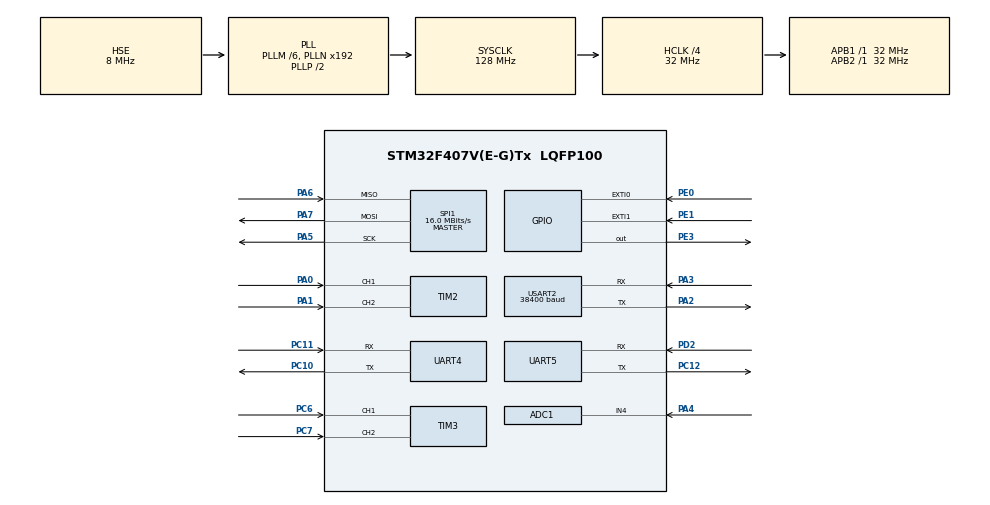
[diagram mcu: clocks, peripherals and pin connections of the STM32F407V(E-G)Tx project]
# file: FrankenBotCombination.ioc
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ADC1.Channel-0\#ChannelRegularConversion=ADC_CHANNEL_4
ADC1.ExternalTrigConv=ADC_EXTERNALTRIGCONV_T8_TRGO
ADC1.NbrOfConversionFlag=1
ADC1.Rank-0\#ChannelRegularConversion=1
ADC1.SamplingTime-0\#ChannelRegularConversion=ADC_SAMPLETIME_15CYCLES
ADC1.master=1
Mcu.Family=STM32F4
Mcu.Name=STM32F407V(E-G)Tx
Mcu.Package=LQFP100
NVIC.ADC_IRQn=true\:0\:0\:true\:false\:true\:true\:true\:true
NVIC.PriorityGroup=NVIC_PRIORITYGROUP_4
NVIC.TIM1_TRG_COM_TIM11_IRQn=true\:0\:0\:true\:false\:true\:true\:true\:true
NVIC.TIM1_UP_TIM10_IRQn=true\:0\:0\:true\:false\:true\:true\:true\:true
PA0-WKUP.Signal=S_TIM2_CH1_ETR
PA1.Signal=S_TIM2_CH2
PA2.Mode=Asynchronous
PA2.Signal=USART2_TX
PA3.Mode=Asynchronous
PA3.Signal=USART2_RX
PA4.Signal=ADCx_IN4
PA5.Mode=Full_Duplex_Master
PA5.Signal=SPI1_SCK
PA6.Mode=Full_Duplex_Master
PA6.Signal=SPI1_MISO
PA7.Mode=Full_Duplex_Master
PA7.Signal=SPI1_MOSI
PC10.Mode=Asynchronous
PC10.Signal=UART4_TX
PC11.Mode=Asynchronous
PC11.Signal=UART4_RX
PC12.Mode=Asynchronous
PC12.Signal=UART5_TX
PC6.Signal=S_TIM3_CH1
PC7.Signal=S_TIM3_CH2
PD2.Mode=Asynchronous
PD2.Signal=UART5_RX
PE0.Signal=GPXTI0
PE1.Signal=GPXTI1
PE3.Signal=GPIO_Output
PH0-OSC_IN.Mode=HSE-External-Oscillator
PH0-OSC_IN.Signal=RCC_OSC_IN
PH1-OSC_OUT.Mode=HSE-External-Oscillator
PH1-OSC_OUT.Signal=RCC_OSC_OUT
ProjectManager.HeapSize=0x200
ProjectManager.StackSize=0x400
ProjectManager.TargetToolchain=STM32CubeIDE
RCC.48MHZClocksFreq_Value=64000000
RCC.AHBCLKDivider=RCC_SYSCLK_DIV4
RCC.AHBFreq_Value=32000000
RCC.APB1Freq_Value=32000000
RCC.APB1TimFreq_Value=32000000
RCC.APB2Freq_Value=32000000
RCC.APB2TimFreq_Value=32000000
RCC.CortexFreq_Value=32000000
RCC.HCLKFreq_Value=32000000
RCC.HSE_VALUE=8000000
RCC.HSI_VALUE=16000000
RCC.LSE_VALUE=32768
RCC.PLLM=6
RCC.PLLSourceVirtual=RCC_PLLSOURCE_HSE
RCC.SYSCLKFreq_VALUE=128000000
RCC.SYSCLKSource=RCC_SYSCLKSOURCE_PLLCLK
RCC.VCOOutputFreq_Value=256000000
SH.ADCx_IN4.0=ADC1_IN4,IN4
SH.S_TIM2_CH1_ETR.0=TIM2_CH1,Encoder_Interface
SH.S_TIM2_CH2.0=TIM2_CH2,Encoder_Interface
SH.S_TIM3_CH1.0=TIM3_CH1,Encoder_Interface
SH.S_TIM3_CH2.0=TIM3_CH2,Encoder_Interface
SPI1.BaudRatePrescaler=SPI_BAUDRATEPRESCALER_2
SPI1.CalculateBaudRate=16.0 MBits/s
SPI1.Direction=SPI_DIRECTION_2LINES
SPI1.Mode=SPI_MODE_MASTER
SPI1.VirtualType=VM_MASTER
TIM10.Period=1000
TIM10.Prescaler=32
TIM11.Period=1000
TIM11.Prescaler=32000
TIM2.EncoderMode=TIM_ENCODERMODE_TI12
TIM3.EncoderMode=TIM_ENCODERMODE_TI12
TIM5.CounterMode=TIM_COUNTERMODE_DOWN
TIM5.Prescaler=32
TIM8.Period=1000
TIM8.Prescaler=16
TIM8.TIM_MasterOutputTrigger=TIM_TRGO_UPDATE
UART4.VirtualMode=Asynchronous
UART5.VirtualMode=Asynchronous
USART2.BaudRate=38400
USART2.VirtualMode=VM_ASYNC
VP_TIM10_VS_ClockSourceINT.Mode=Enable_Timer
VP_TIM11_VS_ClockSourceINT.Mode=Enable_Timer
VP_TIM5_VS_ClockSourceINT.Mode=Internal
VP_TIM8_VS_ClockSourceINT.Mode=Internal
board=custom

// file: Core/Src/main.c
/* USER CODE BEGIN Header */
/**
  ******************************************************************************
  * @file           : main.c
  * @brief          : Main program body
  ******************************************************************************
  * @attention
  *
  * Copyright (c) 2025 STMicroelectronics.
  * All rights reserved.
  *
  * This software is licensed under terms that can be found in the LICENSE file
  * in the root directory of this software component.
  * If no LICENSE file comes with this software, it is provided AS-IS.
  *
  ******************************************************************************
  */
/* USER CODE END Header */
#include "main.h"

/* USER CODE BEGIN Includes */

#include "qik_2s12v10_lib.h"
#include "math.h"

/* USER CODE END Includes */

/* USER CODE BEGIN PD */
#define ACCEL_CS_LOW()   HAL_GPIO_WritePin(GPIOE, GPIO_PIN_3, GPIO_PIN_RESET)  // Chip Select LOW
#define ACCEL_CS_HIGH()  HAL_GPIO_WritePin(GPIOE, GPIO_PIN_3, GPIO_PIN_SET)    // Chip Select HIGH

/* USER CODE END PD */

ADC_HandleTypeDef hadc1;

SPI_HandleTypeDef hspi1;

TIM_HandleTypeDef htim2;
TIM_HandleTypeDef htim3;
TIM_HandleTypeDef htim5;
TIM_HandleTypeDef htim8;
TIM_HandleTypeDef htim10;
TIM_HandleTypeDef htim11;

UART_HandleTypeDef huart4;
UART_HandleTypeDef huart5;
UART_HandleTypeDef huart2;

/* USER CODE BEGIN PV */
// Motor driver commands (UART)
uint8_t const motor0[3] = {m0Forward, m0Brake, m0Reverse};	// the left motor
uint8_t const motor1[3] = {m1Reverese, m1Brake, m1Forward}; // the right motor
uint8_t rotation = 0;
uint8_t rotationOld = 0;
uint8_t speed = 0;
uint8_t brake = 127;

// PID constants
float Kp =  3.0f;
float Ki =  0.0f;
float Kd = 2.0f;

//float integralMax = 127/Ki;

// target
float setpoint = -0.5;
float setPointDelta = 0.00;
uint8_t isReady = 1;
float leftSetup[100];
float previousAngle = 0; // inside accelerometer
float minD = 100;
float minDAngle[5] = {0, 0, 0, 0, 0};
int8_t sign = 1;
int8_t signOld = 1;
uint8_t signChanges = 0;
uint8_t moved = 0;
// State variables
float error = 0.0f;
float previous_error = 0.0f;
float integral = 0.0f;
float derivative = 0.0f;
float output = 0.0f;
float outputOld = 0.0f;
uint8_t dirChange = 0;

// Sample time
float dt = 0.001f;  // 1 ms

// Gyro
uint16_t gyroValue = 0;
float angularVelocity = 0;
float measuredVoltage = 0;
float gyroAngle = 0;

// Accelerometer
uint8_t reg = 0x0F | 0x80;  // WHO_AM_I register (0x0F) with read bit (0x80)
uint8_t id = 0x0;
uint8_t accReg [6] = {0x28, 0x29, 0x2A, 0x2B, 0x2C, 0x2D};
int16_t accX = 0;
int16_t accY = 0;
int16_t accZ = 0;
float accValues[3];
float accAngle = 0;
uint8_t simpleNum = 15;
float simpleAvgAngle[15];

uint8_t isEnabled = 0;
uint8_t enableAcc[2] = {0x20, 0x67};
uint8_t enableDRY[2] = {0x23, 0xC8};
uint8_t status = 0;
uint8_t data[6];
uint8_t const range = 2;

// debug
float angle = 0;
float dMAX = 0;
float lineFixed = 8;
float lineSpeed = 0.3;

// encoders
int16_t encoderL = 0;
int16_t encoderR = 0;

int16_t encoderLOld = 0;
int16_t encoderROld = 0;
int16_t encoderLSpeed = 0;
int16_t encoderRSpeed = 0;
int16_t encoderLSpeedMax = 0;
int16_t encoderRSpeedMax = 0;
int16_t encoderLSpeedMin = 0;
int16_t encoderRSpeedMin = 0;

/* USER CODE END PV */

void SystemClock_Config(void);
static void MX_GPIO_Init(void);
static void MX_SPI1_Init(void);
static void MX_ADC1_Init(void);
static void MX_TIM2_Init(void);
static void MX_TIM3_Init(void);
static void MX_USART2_UART_Init(void);
static void MX_TIM10_Init(void);
static void MX_TIM8_Init(void);
static void MX_UART4_Init(void);
static void MX_UART5_Init(void);
static void MX_TIM11_Init(void);
static void MX_TIM5_Init(void);

int main(void)
{

  /* MCU Configuration--------------------------------------------------------*/

  /* Reset of all peripherals, Initializes the Flash interface and the Systick. */
  HAL_Init();

  /* Configure the system clock */
  SystemClock_Config();

  /* Initialize all configured peripherals */
  MX_GPIO_Init();
  MX_SPI1_Init();
  MX_ADC1_Init();
  MX_TIM2_Init();
  MX_TIM3_Init();
  MX_USART2_UART_Init();
  MX_TIM10_Init();
  MX_TIM8_Init();
  MX_UART4_Init();
  MX_UART5_Init();
  MX_TIM11_Init();
  MX_TIM5_Init();
  /* USER CODE BEGIN 2 */

  // Accelerometer init
  uint8_t isEnabled = 0;
  uint8_t enableAcc[2] = {0x20, 0x67};
  uint8_t enableDRY[2] = {0x23, 0xC8};

  uint8_t msg = (enableAcc[0] | 0x80);
  ACCEL_CS_LOW();
  msg = (enableAcc[0] & 0x3F);
  HAL_SPI_Transmit(&hspi1, &msg, 1, HAL_MAX_DELAY);
  HAL_SPI_Transmit(&hspi1, &enableAcc[1], 1, HAL_MAX_DELAY);
  ACCEL_CS_HIGH();
  HAL_Delay(10);

  msg = (enableAcc[0] | 0x80);
  ACCEL_CS_LOW();
  HAL_SPI_Transmit(&hspi1, &msg, 1, HAL_MAX_DELAY);
  HAL_SPI_Receive(&hspi1, &isEnabled, 1, HAL_MAX_DELAY);
  ACCEL_CS_HIGH();
  HAL_Delay(10);

  msg = enableDRY[0] & 0x3F;
  ACCEL_CS_LOW();
  HAL_SPI_Transmit(&hspi1, &msg, 1, HAL_MAX_DELAY);
  HAL_SPI_Transmit(&hspi1, &enableDRY[1], 1, HAL_MAX_DELAY);
  ACCEL_CS_HIGH();                 // Disable
  HAL_Delay(10);

  HAL_Delay(100); // possibly not enough time for the UART to set up

  // initial angle
  readAccelerometer();
  gyroAngle = accAngle;
  for(int i = 0; i< simpleNum; i++){
	  simpleAvgAngle[i] = accAngle;
  }
  //angleInit();

  // UART Motor Driver communication
  __HAL_TIM_SET_COMPARE(&htim10,TIM_CHANNEL_1, 10);
  HAL_TIM_Base_Start_IT(&htim10);
  __HAL_TIM_SET_COMPARE(&htim11,TIM_CHANNEL_1, 500);
  HAL_TIM_Base_Start_IT(&htim11);
  //HAL_Delay(400); // offsetting the tiers

  // ADC gyro read
  //__HAL_TIM_SET_COMPARE(&htim1, TIM_CHANNEL_1, 100);
  HAL_TIM_Base_Start(&htim8);
  HAL_ADC_Start_IT(&hadc1);

  //

  HAL_TIM_Encoder_Start(&htim2, TIM_CHANNEL_1);
  HAL_TIM_Encoder_Start(&htim2, TIM_CHANNEL_2);

  HAL_TIM_Encoder_Start(&htim3, TIM_CHANNEL_1);
  HAL_TIM_Encoder_Start(&htim3, TIM_CHANNEL_2);

  /* USER CODE END 2 */

  /* Infinite loop */
  while (1)
  {

  }
}

void SystemClock_Config(void)
{
  RCC_OscInitTypeDef RCC_OscInitStruct = {0};
  RCC_ClkInitTypeDef RCC_ClkInitStruct = {0};

  /** Configure the main internal regulator output voltage
  */
  __HAL_RCC_PWR_CLK_ENABLE();
  __HAL_PWR_VOLTAGESCALING_CONFIG(PWR_REGULATOR_VOLTAGE_SCALE1);

  /** Initializes the RCC Oscillators according to the specified parameters
  * in the RCC_OscInitTypeDef structure.
  */
  RCC_OscInitStruct.OscillatorType = RCC_OSCILLATORTYPE_HSE;
  RCC_OscInitStruct.HSEState = RCC_HSE_ON;
  RCC_OscInitStruct.PLL.PLLState = RCC_PLL_ON;
  RCC_OscInitStruct.PLL.PLLSource = RCC_PLLSOURCE_HSE;
  RCC_OscInitStruct.PLL.PLLM = 6;
  RCC_OscInitStruct.PLL.PLLN = 192;
  RCC_OscInitStruct.PLL.PLLP = RCC_PLLP_DIV2;
  RCC_OscInitStruct.PLL.PLLQ = 4;
  if (HAL_RCC_OscConfig(&RCC_OscInitStruct) != HAL_OK)
  {
    Error_Handler();
  }

  /** Initializes the CPU, AHB and APB buses clocks
  */
  RCC_ClkInitStruct.ClockType = RCC_CLOCKTYPE_HCLK|RCC_CLOCKTYPE_SYSCLK
                              |RCC_CLOCKTYPE_PCLK1|RCC_CLOCKTYPE_PCLK2;
  RCC_ClkInitStruct.SYSCLKSource = RCC_SYSCLKSOURCE_PLLCLK;
  RCC_ClkInitStruct.AHBCLKDivider = RCC_SYSCLK_DIV4;
  RCC_ClkInitStruct.APB1CLKDivider = RCC_HCLK_DIV1;
  RCC_ClkInitStruct.APB2CLKDivider = RCC_HCLK_DIV1;

  if (HAL_RCC_ClockConfig(&RCC_ClkInitStruct, FLASH_LATENCY_1) != HAL_OK)
  {
    Error_Handler();
  }
}

static void MX_ADC1_Init(void)
{

  ADC_ChannelConfTypeDef sConfig = {0};

  /** Configure the global features of the ADC (Clock, Resolution, Data Alignment and number of conversion)
  */
  hadc1.Instance = ADC1;
  hadc1.Init.ClockPrescaler = ADC_CLOCK_SYNC_PCLK_DIV2;
  hadc1.Init.Resolution = ADC_RESOLUTION_12B;
  hadc1.Init.ScanConvMode = DISABLE;
  hadc1.Init.ContinuousConvMode = DISABLE;
  hadc1.Init.DiscontinuousConvMode = DISABLE;
  hadc1.Init.ExternalTrigConvEdge = ADC_EXTERNALTRIGCONVEDGE_RISING;
  hadc1.Init.ExternalTrigConv = ADC_EXTERNALTRIGCONV_T8_TRGO;
  hadc1.Init.DataAlign = ADC_DATAALIGN_RIGHT;
  hadc1.Init.NbrOfConversion = 1;
  hadc1.Init.DMAContinuousRequests = DISABLE;
  hadc1.Init.EOCSelection = ADC_EOC_SINGLE_CONV;
  if (HAL_ADC_Init(&hadc1) != HAL_OK)
  {
    Error_Handler();
  }

  /** Configure for the selected ADC regular channel its corresponding rank in the sequencer and its sample time.
  */
  sConfig.Channel = ADC_CHANNEL_4;
  sConfig.Rank = 1;
  sConfig.SamplingTime = ADC_SAMPLETIME_15CYCLES;
  if (HAL_ADC_ConfigChannel(&hadc1, &sConfig) != HAL_OK)
  {
    Error_Handler();
  }

}

static void MX_SPI1_Init(void)
{

  /* SPI1 parameter configuration*/
  hspi1.Instance = SPI1;
  hspi1.Init.Mode = SPI_MODE_MASTER;
  hspi1.Init.Direction = SPI_DIRECTION_2LINES;
  hspi1.Init.DataSize = SPI_DATASIZE_8BIT;
  hspi1.Init.CLKPolarity = SPI_POLARITY_LOW;
  hspi1.Init.CLKPhase = SPI_PHASE_1EDGE;
  hspi1.Init.NSS = SPI_NSS_SOFT;
  hspi1.Init.BaudRatePrescaler = SPI_BAUDRATEPRESCALER_2;
  hspi1.Init.FirstBit = SPI_FIRSTBIT_MSB;
  hspi1.Init.TIMode = SPI_TIMODE_DISABLE;
  hspi1.Init.CRCCalculation = SPI_CRCCALCULATION_DISABLE;
  hspi1.Init.CRCPolynomial = 10;
  if (HAL_SPI_Init(&hspi1) != HAL_OK)
  {
    Error_Handler();
  }

}

static void MX_TIM2_Init(void)
{

  TIM_Encoder_InitTypeDef sConfig = {0};
  TIM_MasterConfigTypeDef sMasterConfig = {0};

  htim2.Instance = TIM2;
  htim2.Init.Prescaler = 0;
  htim2.Init.CounterMode = TIM_COUNTERMODE_UP;
  htim2.Init.Period = 4294967295;
  htim2.Init.ClockDivision = TIM_CLOCKDIVISION_DIV1;
  htim2.Init.AutoReloadPreload = TIM_AUTORELOAD_PRELOAD_DISABLE;
  sConfig.EncoderMode = TIM_ENCODERMODE_TI12;
  sConfig.IC1Polarity = TIM_ICPOLARITY_RISING;
  sConfig.IC1Selection = TIM_ICSELECTION_DIRECTTI;
  sConfig.IC1Prescaler = TIM_ICPSC_DIV1;
  sConfig.IC1Filter = 0;
  sConfig.IC2Polarity = TIM_ICPOLARITY_RISING;
  sConfig.IC2Selection = TIM_ICSELECTION_DIRECTTI;
  sConfig.IC2Prescaler = TIM_ICPSC_DIV1;
  sConfig.IC2Filter = 0;
  if (HAL_TIM_Encoder_Init(&htim2, &sConfig) != HAL_OK)
  {
    Error_Handler();
  }
  sMasterConfig.MasterOutputTrigger = TIM_TRGO_RESET;
  sMasterConfig.MasterSlaveMode = TIM_MASTERSLAVEMODE_DISABLE;
  if (HAL_TIMEx_MasterConfigSynchronization(&htim2, &sMasterConfig) != HAL_OK)
  {
    Error_Handler();
  }

}

static void MX_TIM3_Init(void)
{

  TIM_Encoder_InitTypeDef sConfig = {0};
  TIM_MasterConfigTypeDef sMasterConfig = {0};

  htim3.Instance = TIM3;
  htim3.Init.Prescaler = 0;
  htim3.Init.CounterMode = TIM_COUNTERMODE_UP;
  htim3.Init.Period = 65535;
  htim3.Init.ClockDivision = TIM_CLOCKDIVISION_DIV1;
  htim3.Init.AutoReloadPreload = TIM_AUTORELOAD_PRELOAD_DISABLE;
  sConfig.EncoderMode = TIM_ENCODERMODE_TI12;
  sConfig.IC1Polarity = TIM_ICPOLARITY_RISING;
  sConfig.IC1Selection = TIM_ICSELECTION_DIRECTTI;
  sConfig.IC1Prescaler = TIM_ICPSC_DIV1;
  sConfig.IC1Filter = 0;
  sConfig.IC2Polarity = TIM_ICPOLARITY_RISING;
  sConfig.IC2Selection = TIM_ICSELECTION_DIRECTTI;
  sConfig.IC2Prescaler = TIM_ICPSC_DIV1;
  sConfig.IC2Filter = 0;
  if (HAL_TIM_Encoder_Init(&htim3, &sConfig) != HAL_OK)
  {
    Error_Handler();
  }
  sMasterConfig.MasterOutputTrigger = TIM_TRGO_RESET;
  sMasterConfig.MasterSlaveMode = TIM_MASTERSLAVEMODE_DISABLE;
  if (HAL_TIMEx_MasterConfigSynchronization(&htim3, &sMasterConfig) != HAL_OK)
  {
    Error_Handler();
  }

}

static void MX_TIM5_Init(void)
{

  TIM_ClockConfigTypeDef sClockSourceConfig = {0};
  TIM_MasterConfigTypeDef sMasterConfig = {0};

  htim5.Instance = TIM5;
  htim5.Init.Prescaler = 32;
  htim5.Init.CounterMode = TIM_COUNTERMODE_DOWN;
  htim5.Init.Period = 4294967295;
  htim5.Init.ClockDivision = TIM_CLOCKDIVISION_DIV1;
  htim5.Init.AutoReloadPreload = TIM_AUTORELOAD_PRELOAD_DISABLE;
  if (HAL_TIM_Base_Init(&htim5) != HAL_OK)
  {
    Error_Handler();
  }
  sClockSourceConfig.ClockSource = TIM_CLOCKSOURCE_INTERNAL;
  if (HAL_TIM_ConfigClockSource(&htim5, &sClockSourceConfig) != HAL_OK)
  {
    Error_Handler();
  }
  sMasterConfig.MasterOutputTrigger = TIM_TRGO_RESET;
  sMasterConfig.MasterSlaveMode = TIM_MASTERSLAVEMODE_DISABLE;
  if (HAL_TIMEx_MasterConfigSynchronization(&htim5, &sMasterConfig) != HAL_OK)
  {
    Error_Handler();
  }

}

static void MX_TIM8_Init(void)
{

  TIM_ClockConfigTypeDef sClockSourceConfig = {0};
  TIM_MasterConfigTypeDef sMasterConfig = {0};

  htim8.Instance = TIM8;
  htim8.Init.Prescaler = 16;
  htim8.Init.CounterMode = TIM_COUNTERMODE_UP;
  htim8.Init.Period = 1000;
  htim8.Init.ClockDivision = TIM_CLOCKDIVISION_DIV1;
  htim8.Init.RepetitionCounter = 0;
  htim8.Init.AutoReloadPreload = TIM_AUTORELOAD_PRELOAD_DISABLE;
  if (HAL_TIM_Base_Init(&htim8) != HAL_OK)
  {
    Error_Handler();
  }
  sClockSourceConfig.ClockSource = TIM_CLOCKSOURCE_INTERNAL;
  if (HAL_TIM_ConfigClockSource(&htim8, &sClockSourceConfig) != HAL_OK)
  {
    Error_Handler();
  }
  sMasterConfig.MasterOutputTrigger = TIM_TRGO_UPDATE;
  sMasterConfig.MasterSlaveMode = TIM_MASTERSLAVEMODE_DISABLE;
  if (HAL_TIMEx_MasterConfigSynchronization(&htim8, &sMasterConfig) != HAL_OK)
  {
    Error_Handler();
  }

}

static void MX_TIM10_Init(void)
{

  htim10.Instance = TIM10;
  htim10.Init.Prescaler = 32;
  htim10.Init.CounterMode = TIM_COUNTERMODE_UP;
  htim10.Init.Period = 1000;
  htim10.Init.ClockDivision = TIM_CLOCKDIVISION_DIV1;
  htim10.Init.AutoReloadPreload = TIM_AUTORELOAD_PRELOAD_DISABLE;
  if (HAL_TIM_Base_Init(&htim10) != HAL_OK)
  {
    Error_Handler();
  }

}

static void MX_TIM11_Init(void)
{

  htim11.Instance = TIM11;
  htim11.Init.Prescaler = 32000;
  htim11.Init.CounterMode = TIM_COUNTERMODE_UP;
  htim11.Init.Period = 1000;
  htim11.Init.ClockDivision = TIM_CLOCKDIVISION_DIV1;
  htim11.Init.AutoReloadPreload = TIM_AUTORELOAD_PRELOAD_DISABLE;
  if (HAL_TIM_Base_Init(&htim11) != HAL_OK)
  {
    Error_Handler();
  }

}

static void MX_UART4_Init(void)
{

  huart4.Instance = UART4;
  huart4.Init.BaudRate = 115200;
  huart4.Init.WordLength = UART_WORDLENGTH_8B;
  huart4.Init.StopBits = UART_STOPBITS_1;
  huart4.Init.Parity = UART_PARITY_NONE;
  huart4.Init.Mode = UART_MODE_TX_RX;
  huart4.Init.HwFlowCtl = UART_HWCONTROL_NONE;
  huart4.Init.OverSampling = UART_OVERSAMPLING_16;
  if (HAL_UART_Init(&huart4) != HAL_OK)
  {
    Error_Handler();
  }

}

static void MX_UART5_Init(void)
{

  huart5.Instance = UART5;
  huart5.Init.BaudRate = 115200;
  huart5.Init.WordLength = UART_WORDLENGTH_8B;
  huart5.Init.StopBits = UART_STOPBITS_1;
  huart5.Init.Parity = UART_PARITY_NONE;
  huart5.Init.Mode = UART_MODE_TX_RX;
  huart5.Init.HwFlowCtl = UART_HWCONTROL_NONE;
  huart5.Init.OverSampling = UART_OVERSAMPLING_16;
  if (HAL_UART_Init(&huart5) != HAL_OK)
  {
    Error_Handler();
  }

}

static void MX_USART2_UART_Init(void)
{

  huart2.Instance = USART2;
  huart2.Init.BaudRate = 38400;
  huart2.Init.WordLength = UART_WORDLENGTH_8B;
  huart2.Init.StopBits = UART_STOPBITS_1;
  huart2.Init.Parity = UART_PARITY_NONE;
  huart2.Init.Mode = UART_MODE_TX_RX;
  huart2.Init.HwFlowCtl = UART_HWCONTROL_NONE;
  huart2.Init.OverSampling = UART_OVERSAMPLING_16;
  if (HAL_UART_Init(&huart2) != HAL_OK)
  {
    Error_Handler();
  }

}

static void MX_GPIO_Init(void)
{
  GPIO_InitTypeDef GPIO_InitStruct = {0};

  /* GPIO Ports Clock Enable */
  __HAL_RCC_GPIOE_CLK_ENABLE();
  __HAL_RCC_GPIOH_CLK_ENABLE();
  __HAL_RCC_GPIOA_CLK_ENABLE();
  __HAL_RCC_GPIOC_CLK_ENABLE();
  __HAL_RCC_GPIOD_CLK_ENABLE();

  /*Configure GPIO pin Output Level */
  HAL_GPIO_WritePin(GPIOE, GPIO_PIN_3, GPIO_PIN_RESET);

  /*Configure GPIO pin : PE3 */
  GPIO_InitStruct.Pin = GPIO_PIN_3;
  GPIO_InitStruct.Mode = GPIO_MODE_OUTPUT_PP;
  GPIO_InitStruct.Pull = GPIO_NOPULL;
  GPIO_InitStruct.Speed = GPIO_SPEED_FREQ_LOW;
  HAL_GPIO_Init(GPIOE, &GPIO_InitStruct);

  /*Configure GPIO pins : PE0 PE1 */
  GPIO_InitStruct.Pin = GPIO_PIN_0|GPIO_PIN_1;
  GPIO_InitStruct.Mode = GPIO_MODE_IT_RISING;
  GPIO_InitStruct.Pull = GPIO_NOPULL;
  HAL_GPIO_Init(GPIOE, &GPIO_InitStruct);

}

/* USER CODE BEGIN 4 */
void HAL_TIM_PeriodElapsedCallback(TIM_HandleTypeDef *htim)
{
  /* Prevent unused argument(s) compilation warning */
  UNUSED(htim);

  /* NOTE : This function should not be modified, when the callback is needed,
            the HAL_TIM_PeriodElapsedCallback could be implemented in the user file
   */

  // calculations
  // pid

  if (htim == &htim11) {
	  //gyroAngle = angle;
  }
  if (htim == &htim10){
	  	if(dirChange == 0 && moved >=10){
	  		if(rotation == 2){
		  		sign = -1;
	  		}
	  		else if(rotation == 0){
		  		sign = +1;
	  		}
	  		moved = 0;
		  	targetUpdate();
		  	signOld = sign;
	  	}
		readAccelerometer();
		getEncoders();
		calculateSpeed();
		pcTransmitBin();

		 if(rotation != rotationOld){
			 dirChange = 1;
			 moved =0;
			 rotationOld = rotation;
		 }
		 else{
			 //dirChange = 0;
			 if(fabs(error) < 0.2){
				 moved++;
			 }

		 }
		 if(dirChange==1){
			 if(abs(encoderRSpeed) > 1800){
				HAL_UART_Transmit(&huart2, &motor0[1], 1, 20);
				HAL_UART_Transmit(&huart2, &brake, 1, 20);
				HAL_UART_Transmit(&huart2, &motor1[1], 1, 20);
				HAL_UART_Transmit(&huart2, &brake, 1, 20);
				usDelay(400);
			 }
			 //else{
				 dirChange = 0;
			// }
		 }
		if(dirChange == 0){
			HAL_UART_Transmit(&huart2, &motor0[rotation], 1, 20);
			HAL_UART_Transmit(&huart2, &speed, 1, 20);
			// HAL_Delay(10);
			HAL_UART_Transmit(&huart2, &motor1[rotation], 1, 20);
			HAL_UART_Transmit(&huart2, &speed, 1, 20);
			//HAL_Delay(10);
		}

  }

}

void HAL_ADC_ConvCpltCallback(ADC_HandleTypeDef *hadc)
{
  /* Prevent unused argument(s) compilation warning */
  UNUSED(hadc);
  /* NOTE : This function Should not be modified, when the callback is needed,
            the HAL_ADC_ConvCpltCallback could be implemented in the user file
   */

  gyroValue = HAL_ADC_GetValue(&hadc1);
  calculateGyroAngle();
}

void readAccelerometer(){
	uint8_t msg;
	for(short i = 0; i<6; i++){
		msg = accReg[i] | 0x80;
		ACCEL_CS_LOW();                  // Enable SPI communication
		HAL_SPI_Transmit(&hspi1, &msg, 1, HAL_MAX_DELAY);  // Send register address
		HAL_SPI_Receive(&hspi1, &data[i], 1, HAL_MAX_DELAY);    // Receive the ID
		ACCEL_CS_HIGH();                 // Disable SPI

	}
	accX = (data[0] | (data[1] << 8));
	accY = (data[2] | (data[3] << 8));
	accZ = (data[4] | (data[5] << 8));

	accValues[0] = (accX / 32767.0) * 2;
	accValues[1] = (accY / 32767.0) * 2;
	accValues[2] = (accZ / 32767.0) * 2;

	accAngle = atan(accValues[0]/accValues[2])*180/M_PI;

	// moving average
	for(int i = 0; i< simpleNum; i++){
	  simpleAvgAngle[i] = simpleAvgAngle[i+1];
	}
	simpleAvgAngle[simpleNum-1] = accAngle;
	angle =0;
	for(int i = 0; i< simpleNum; i++){
	  angle += simpleAvgAngle[i];
	}
	angle /= simpleNum;

	if(fabs(angle) > 80.0f){
		angle = previousAngle;
	}

}

void calculateGyroAngle(){
	measuredVoltage = (gyroValue / 4095.0)*2.9;
	angularVelocity = (measuredVoltage - 1.47)/0.01375/2; // degrees/ time
	if (angularVelocity > 0.7 || angularVelocity < -0.7){
		gyroAngle -= angularVelocity * 0.001; // 1/1000 s
		// - because the positive and negative sides of the Acc and Gyro are different
	}
}

void calculateSpeed(){
	error = setpoint - angle;
	integral += error * dt;
	Kp = (int)(lineSpeed*fabs(error))+lineFixed;
	derivative = (gyroAngle - previousAngle) / dt;
	if(derivative>127.0/Kd){
		derivative = 127;
	}
	output = Kp * error + Ki * integral + Kd * derivative;
	previous_error = error;
	previousAngle = gyroAngle;

	if (error<-0.005){
		rotation = 2;
	}
	else if (error>0.005){
		rotation = 0;
	}
	else{
		rotation = 1;
	}

	if (output<-127){
		output = -127;
	}
	else if (output>127){
		output = 127;
	}
	speed = abs((int)output);

	if (dMAX < derivative){
		dMAX = derivative;
	}
}

void getEncoders(){
	  encoderL = __HAL_TIM_GET_COUNTER(&htim2);
	  encoderR = __HAL_TIM_GET_COUNTER(&htim3);

	  encoderLSpeed = (encoderL-encoderLOld)/dt;
	  encoderLOld = encoderL;

	  encoderRSpeed = (encoderR-encoderROld)/dt;
	  encoderROld = encoderR;

	  if (encoderLSpeed > encoderLSpeedMax){
	 	  encoderLSpeedMax = encoderLSpeed;
	   }else if(encoderLSpeed < encoderLSpeedMin){
	 	  encoderLSpeedMin = encoderLSpeed;
	   }

	   if (encoderRSpeed > encoderRSpeedMax){
	 	  encoderRSpeedMax = encoderRSpeed;
	   }else if(encoderRSpeed < encoderRSpeedMin){
	 	  encoderRSpeedMin = encoderRSpeed;
	   }
}

void targetUpdate(){
	setpoint += setPointDelta*sign;
	if(signOld != sign){
		signChanges++;
		if(signChanges > 5 && speed < 20){
			setPointDelta *= 0.8f;
			signChanges = 0;
		}

	}
}

void angleInit(){
	float D = 0;
	uint8_t counter = 0;
	uint8_t flag = 0;
	for(int i = 0; i < 100; i++){
		leftSetup[i] = 0;
	}
	while(isReady){
		readAccelerometer();
		//for(int i = 0; i < 99; i++){
		//	leftSetup[i] = leftSetup[i+1];
		//}
		//leftSetup[99] = angle;
		D = leftSetup[98] - angle;
		if (fabs(D) < fabs(minD) && fabs(angle) < 3){
			minD = D;
			minDAngle[counter] = angle;
			flag = 1;
		}
		if (fabs(angle) > 3 && flag){
			counter++;
			flag = 0;
			minD=100;
		}
		if(minDAngle[4]){
			isReady = 0;
		}
		HAL_Delay(30);
	}
	setpoint = 0;
	for(int i = 0; i<5; i++){
		setpoint += minDAngle[i];
	}
	setpoint /= 5;
}
void pcTransmitBin(){
	//time stamp
	uint32_t tick = HAL_GetTick();
	uint8_t zero = 0;
	uint8_t end[2] = "\r\n";
	HAL_UART_Transmit(&huart5, &tick, 4, 10);

	// angles
	HAL_UART_Transmit(&huart5, &gyroAngle, 4, 10);
	HAL_UART_Transmit(&huart5, &accAngle, 4, 10);
	HAL_UART_Transmit(&huart5, &angle, 4, 10);
	HAL_UART_Transmit(&huart5, &setpoint, 4, 10);

	//encoders
	HAL_UART_Transmit(&huart5, &encoderL, 2, 10);
	HAL_UART_Transmit(&huart5, &encoderR, 2, 10);
	HAL_UART_Transmit(&huart5, &encoderLSpeed, 2, 10);
	HAL_UART_Transmit(&huart5, &encoderRSpeed, 2, 10);

	// control
	HAL_UART_Transmit(&huart5, &error, 4, 10);
	HAL_UART_Transmit(&huart5, &zero, 1, 10);
	HAL_UART_Transmit(&huart5, &speed, 1, 10);
	HAL_UART_Transmit(&huart5, &Kp, 4, 10);
	HAL_UART_Transmit(&huart5, &Ki, 4, 10);
	HAL_UART_Transmit(&huart5, &Kd, 4, 10);
	HAL_UART_Transmit(&huart5, &derivative, 4, 10);

	//accelerometer debug
	HAL_UART_Transmit(&huart5, &accValues[0], 4, 10);
	HAL_UART_Transmit(&huart5, &accValues[2], 4, 10);

}

void usDelay(uint32_t us) {

    volatile uint32_t *cnt = &htim5.Instance->CNT;

    __HAL_TIM_SET_COUNTER(&htim5, us); // Set the counter to number of us
    HAL_TIM_Base_Start(&htim5);        // Fire up the timer
    while (*cnt != 0);                 // Just wait until 0
    HAL_TIM_Base_Stop(&htim5);

}

/* USER CODE END 4 */

void Error_Handler(void)
{
  __disable_irq();
  while (1)
  {
  }
}
